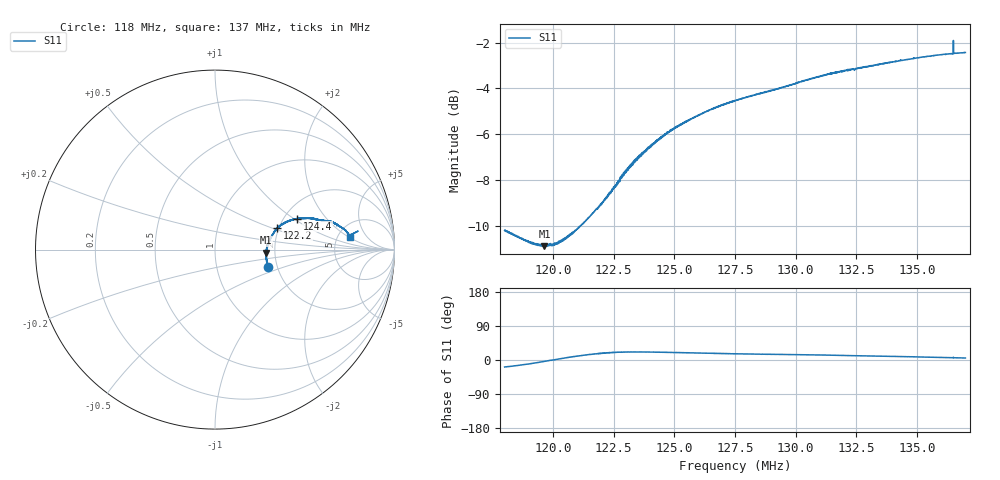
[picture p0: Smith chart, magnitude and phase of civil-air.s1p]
! Calibrated averaged scanner-service zoom
# Hz S RI R 50
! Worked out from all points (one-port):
!   2001 points, 118 MHz to 137 MHz, reference 50 ohm
!   lowest |S11| = -10.9 dB at 119.6 MHz (marker M1), VSWR 1.80, Z = 89.7 - j3.49 ohm
!   |S11| at or under -10 dB: start of sweep to 121.1 MHz
!   S11 on the Smith chart (normalised r, x): 118 MHz: 1.78, -0.38; 122.2 MHz: 1.96, +0.54; 124.4 MHz: 2.34, +1.06; 137 MHz: 6.51, +2.12
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1.18e8  0.2928 -0.0973
1.182565e8  0.2917 -0.087
1.190545e8  0.2852 -0.05
1.196435e8  0.2845 -0.0179
1.200235e8  0.286 0.00192
1.20375e8  0.2933 0.0223
1.208405e8  0.3011 0.0483
1.212775e8  0.313 0.0706
1.219235e8  0.3328 0.1054
1.22237e8  0.3462 0.1201
1.2275e8  0.37 0.1376
1.229875e8  0.3894 0.1504
1.234435e8  0.4135 0.161
1.243935e8  0.4563 0.1728
1.25125e8  0.4902 0.1736
1.263125e8  0.5343 0.1735
1.275e8  0.5682 0.1681
1.28697e8  0.596 0.1618
1.29875e8  0.6238 0.1598
1.30293e8  0.6355 0.16
1.308345e8  0.6489 0.155
1.314045e8  0.6635 0.1492
1.3225e8  0.6805 0.1396
1.34625e8  0.7223 0.1108
1.354325e8  0.7354 0.0965
1.364015e8  0.7473 0.0798
1.36411e8  0.748 0.0803
1.37e8  0.7533 0.0695
